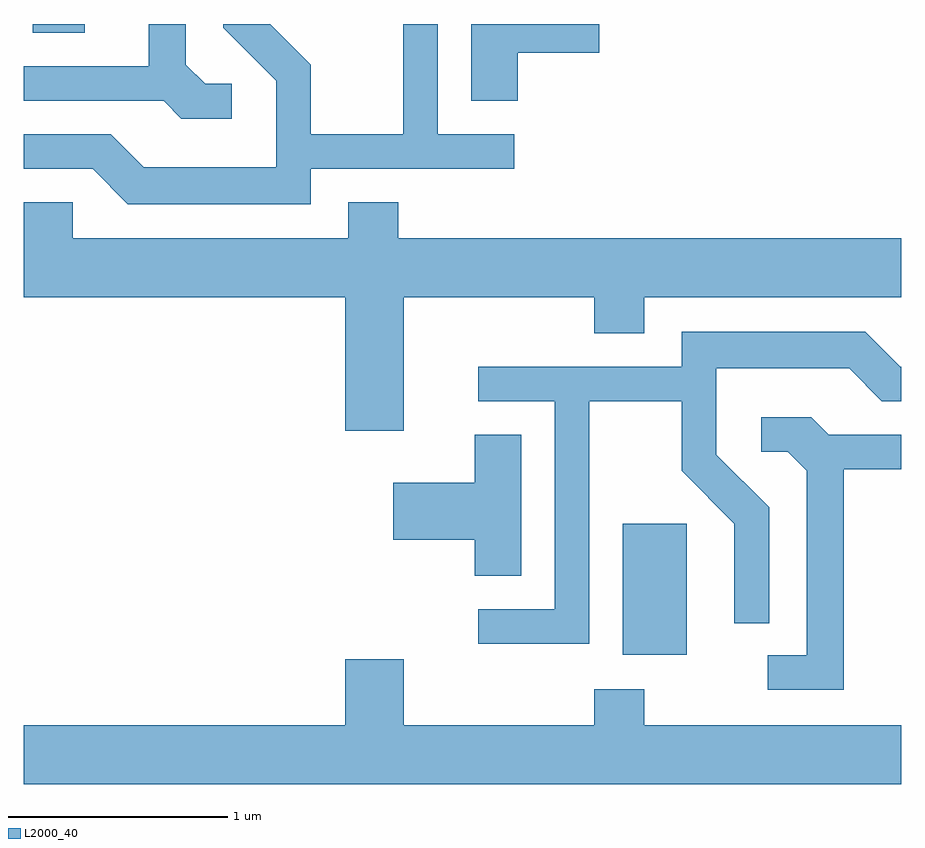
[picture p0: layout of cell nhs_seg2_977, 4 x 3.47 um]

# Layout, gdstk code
import gdstk
lib = gdstk.Library(unit=1e-6, precision=1e-09)
def R(c, l, rs):  # rectangles x0, y0, x1, y1
    for r in rs: c.add(gdstk.rectangle(r[:2], r[2:], *l))
def P(c, l, *ps):  # polygons
    for p in ps: c.add(gdstk.Polygon(p, *l))
L2000_40 = (2000, 40)

nhs_seg2_977 = lib.new_cell('nhs_seg2_977')
R(nhs_seg2_977, L2000_40, [(216.341,1028.926,216.634,1029.524), (213.651,1031.761,213.889,1031.802)])
P(nhs_seg2_977, L2000_40, [(215.864,1031.671),(216.234,1031.671),(216.234,1031.802),(215.651,1031.802),(215.651,1031.451),(215.864,1031.451)],
  [(214.558,1031.529),(214.437,1031.529),(214.349,1031.617),(214.349,1031.802),(214.181,1031.802),(214.181,1031.609),(213.611,1031.609),(213.611,1031.451),(214.249,1031.451),(214.329,1031.371),(214.558,1031.371)],
  [(214.919,1031.141),(215.848,1031.141),(215.848,1031.299),(215.499,1031.299),(215.499,1031.802),(215.341,1031.802),(215.341,1031.299),(214.919,1031.299),(214.919,1031.617),(214.734,1031.802),(214.521,1031.802),(214.521,1031.784),(214.761,1031.544),(214.761,1031.149),(214.157,1031.149),(214.007,1031.299),(213.611,1031.299),(213.611,1031.141),(213.924,1031.141),(214.084,1030.981),(214.919,1030.981)],
  [(215.344,1030.556),(216.211,1030.556),(216.211,1030.391),(216.439,1030.391),(216.439,1030.556),(217.611,1030.556),(217.611,1030.824),(215.319,1030.824),(215.319,1030.989),(215.091,1030.989),(215.091,1030.824),(213.834,1030.824),(213.834,1030.989),(213.611,1030.989),(213.611,1030.556),(215.076,1030.556),(215.076,1029.946),(215.344,1029.946)],
  [(216.189,1030.081),(216.611,1030.081),(216.611,1029.764),(216.851,1029.524),(216.851,1029.068),(217.009,1029.068),(217.009,1029.597),(216.769,1029.837),(216.769,1030.231),(217.374,1030.231),(217.524,1030.081),(217.611,1030.081),(217.611,1030.239),(217.607,1030.239),(217.447,1030.399),(216.611,1030.399),(216.611,1030.239),(215.683,1030.239),(215.683,1030.081),(216.031,1030.081),(216.031,1029.134),(215.683,1029.134),(215.683,1028.976),(216.189,1028.976)],
  [(217.349,1029.771),(217.611,1029.771),(217.611,1029.929),(217.282,1029.929),(217.202,1030.009),(216.973,1030.009),(216.973,1029.851),(217.094,1029.851),(217.181,1029.764),(217.181,1028.924),(217.003,1028.924),(217.003,1028.766),(217.349,1028.766)],
  [(215.879,1029.929),(215.666,1029.929),(215.666,1029.709),(215.296,1029.709),(215.296,1029.451),(215.666,1029.451),(215.666,1029.286),(215.879,1029.286)],
  [(217.611,1028.604),(216.439,1028.604),(216.439,1028.769),(216.211,1028.769),(216.211,1028.604),(215.344,1028.604),(215.344,1028.904),(215.076,1028.904),(215.076,1028.604),(213.611,1028.604),(213.611,1028.336),(217.611,1028.336)])

lib.write_gds('nhs_seg2_977.gds')
